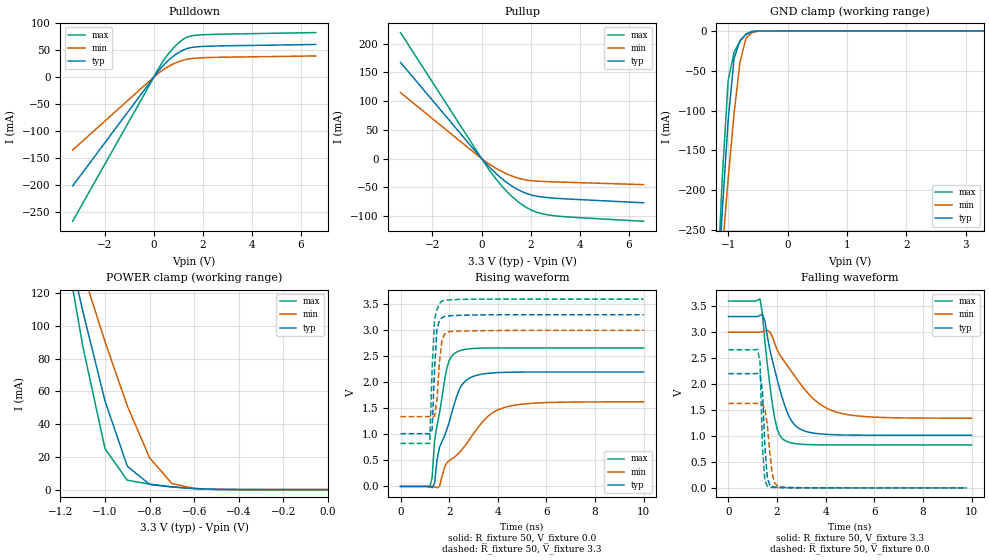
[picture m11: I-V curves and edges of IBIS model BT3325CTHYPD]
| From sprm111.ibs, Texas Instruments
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[Model]   BT3325CTHYPD
| I/O with pulldown
Model_type   I/O
Vinh = 2.00
Vinl = 0.80
Enable   Active-Low
Polarity   Non-Inverting
| signals   A, GZ, Y
Vmeas = 1.5
|   typ   min   max
C_comp   1.5797p   1.5046p   1.7659p
|   typ   min   max
[Temperature Range]   25   -40   125
|   typ   min   max
[Voltage Range]   3.30V   3.00V   3.60V
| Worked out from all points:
|   slope of the pulldown table from 0 to 0.495 V, typ, clamps not added: 18.4 ohm
|   slope of the pullup table from 0 to 0.495 V, typ, clamps not added: 22.1 ohm
|   GND clamp passes 1 mA (typ) near -0.60 V on its own axis
|   POWER clamp passes 1 mA (typ) near -0.64 V on its own axis
|   rising waveform, R_fixture 50, V_fixture 0.0: 20-80 % time 848ps typ, 1.71ns min, 497ps max; typ from 0 V to 2.2 V
|   falling waveform, R_fixture 50, V_fixture 3.3: 20-80 % time 774ps typ, 1.6ns min, 432ps max; typ from 3.3 V to 1.01 V
|   rising waveform, R_fixture 50, V_fixture 3.3: 20-80 % time 143ps typ, 171ps min, 144ps max; typ from 1.01 V to 3.3 V
|   falling waveform, R_fixture 50, V_fixture 0.0: 20-80 % time 148ps typ, 218ps min, 120ps max; typ from 2.2 V to 0 V
[Pulldown]
|   Voltage   I(typ)   I(min)   I(max)
-3.3V     -201.5mA   -134.9mA   -267mA
200mV     11.94mA    7.607mA    16.41mA
600mV     31.43mA    19.94mA    43.44mA
800mV     39.06mA    24.71mA    54.18mA
1.1V      47.98mA    30.18mA    66.99mA
1.4V      53.8mA     33.69mA    75.19mA
1.9V      56.89mA    36.01mA    78.53mA
6.6V      60.8mA     39.52mA    82.88mA
[GND_clamp]
|   Voltage   I(typ)   I(min)   I(max)
-3.3V     -3.36A     -2.536A    -4.361A
-1.2V     -355.1mA   -371.2mA   -350.2mA
-1.1V     -226.9mA   -276.3mA   -185.2mA
-1V       -111.9mA   -185.6mA   -62.13mA
-900mV    -34.29mA   -103mA     -26.42mA
-800mV    -12.1mA    -38.78mA   -12.76mA
-700mV    -4.447mA   -9.107mA   -3.783mA
-600mV    -903.9uA   -2.154mA   -502.2uA
-400mV    -40.42uA   -67.44uA   -56.26uA
3.3V      100.8uA    54.24uA    177.3uA
[Pullup]
|   Voltage   I(typ)   I(min)   I(max)
-3.3V     167.1mA    114.5mA    219.1mA
-200mV    10mA       6.709mA    13.35mA
300mV     -14.08mA   -9.224mA   -19.1mA
600mV     -26.64mA   -17.31mA   -36.28mA
900mV     -37.6mA    -24.2mA    -51.46mA
1.2V      -46.92mA   -29.85mA   -64.58mA
1.5V      -54.52mA   -34.2mA    -75.6mA
1.8V      -60.33mA   -37.21mA   -84.43mA
2.1V      -64.3mA    -38.86mA   -91.01mA
2.7V      -68.04mA   -40.24mA   -98mA
3.6V      -70.63mA   -41.51mA   -101.9mA
6.6V      -77.05mA   -45.41mA   -109.2mA
[POWER_clamp]
|   Voltage   I(typ)   I(min)   I(max)
-3.3V     1.575A     1.19A      2.043A
-1.2V     169.6mA    177.7mA    166.3mA
-1.1V     109.1mA    133.1mA    87.76mA
-1V       54.11mA    90.34mA    24.99mA
-900mV    14.26mA    51.08mA    5.719mA
-800mV    3.198mA    19.47mA    3.326mA
-700mV    1.555mA    3.689mA    1.723mA
-600mV    651.9uA    701.7uA    604.8uA
-400mV    15.1uA     22.01uA    4.72uA
0V        444.1pA    10.57nA    177.6pA
[Ramp]
|   I(typ)   I(min)   I(max)
dV/dt_r   1.320/0.846n   0.976/1.712n   1.597/0.499n
dV/dt_f   1.372/0.778n   0.995/1.602n   1.664/0.434n
[Rising Waveform]
R_fixture = 50
V_fixture = 0.0
|  pu_on
|  TIME   V(typ)   V(min)   V(max)
0s        2nV        12nV       1nV
1.2ns     2.162mV    1.088mV    -18.75mV
1.3ns     -25.49mV   1.602mV    168mV
1.4ns     61.14mV    -9.163mV   878.8mV
1.6ns     747.5mV    -1.538mV   1.403V
1.9ns     1.085V     449.9mV    2.265V
2.3ns     1.717V     595.5mV    2.581V
2.9ns     2.097V     946.6mV    2.648V
4.3ns     2.193V     1.521V     2.662V
10ns      2.2V       1.626V     2.662V
[Falling Waveform]
R_fixture = 50
V_fixture = 3.3
V_fixture_min = 3.0
V_fixture_max = 3.6
|  pd_on
|  TIME   V(typ)   V(min)   V(max)
0s        3.3V       3V         3.6V
1.3ns     3.323V     3.002V     3.636V
1.4ns     3.339V     3.011V     3.341V
1.5ns     3.218V     3.025V     2.81V
1.9ns     2.281V     2.788V     1.345V
2.1ns     1.922V     2.573V     1.019V
2.3ns     1.607V     2.434V     919.2mV
2.9ns     1.146V     2.04V      844.4mV
4.4ns     1.023V     1.466V     826.9mV
10ns      1.014V     1.342V     826.4mV
[Rising Waveform]
R_fixture = 50
V_fixture = 3.3
V_fixture_min = 3.0
V_fixture_max = 3.6
|  pd_off
|  TIME   V(typ)   V(min)   V(max)
0s        1.014V     1.342V     826.4mV
1.2ns     1.007V     1.343V     827.5mV
1.3ns     1.093V     1.327V     2.263V
1.4ns     2.269V     1.349V     3.214V
1.5ns     3.031V     1.673V     3.401V
1.6ns     3.188V     2.375V     3.515V
1.7ns     3.242V     2.79V      3.564V
1.8ns     3.264V     2.922V     3.577V
2.1ns     3.283V     2.98V      3.588V
10ns      3.3V       3V         3.6V
[Falling Waveform]
R_fixture = 50
V_fixture = 0.0
|  pu_off
|  TIME   V(typ)   V(min)   V(max)
0s        2.2V       1.626V     2.662V
1.2ns     2.206V     1.629V     2.668V
1.3ns     2.178V     1.635V     2.417V
1.4ns     1.865V     1.612V     769.2mV
1.5ns     785mV      1.521V     134.8mV
1.6ns     192.1mV    1.208V     33.93mV
1.8ns     25.89mV    279mV      9.421mV
1.9ns     14.36mV    98.2mV     7.251mV
2.1ns     7.453mV    23.28mV    4.835mV
9.8ns     1.95uV     6.45uV     539nV
